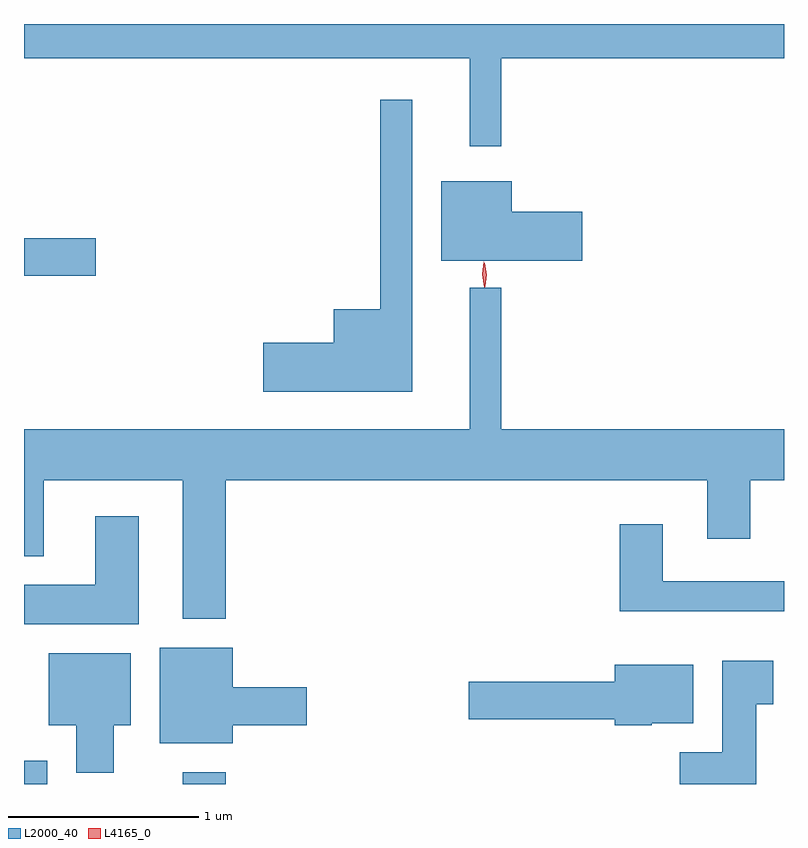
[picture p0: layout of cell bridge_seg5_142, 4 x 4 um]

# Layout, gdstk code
import gdstk
lib = gdstk.Library(unit=1e-6, precision=1e-09)
def R(c, l, rs):  # rectangles x0, y0, x1, y1
    for r in rs: c.add(gdstk.rectangle(r[:2], r[2:], *l))
def P(c, l, *ps):  # polygons
    for p in ps: c.add(gdstk.Polygon(p, *l))
L2000_40 = (2000, 40)
L4165_0 = (4165, 0)

bridge_seg5_142 = lib.new_cell('bridge_seg5_142')
R(bridge_seg5_142, L2000_40, [(1127.936,1406.356,1128.059,1406.479), (1128.771,1406.356,1128.999,1406.419), (1127.936,1409.031,1128.314,1409.229)])
P(bridge_seg5_142, L2000_40, [(1130.449,1410.176),(1131.936,1410.176),(1131.936,1410.356),(1127.936,1410.356),(1127.936,1410.176),(1130.281,1410.176),(1130.281,1409.713),(1130.449,1409.713)],
  [(1129.979,1409.958),(1129.811,1409.958),(1129.811,1408.854),(1129.566,1408.854),(1129.566,1408.679),(1129.196,1408.679),(1129.196,1408.421),(1129.979,1408.421)],
  [(1130.874,1409.369),(1130.504,1409.369),(1130.504,1409.529),(1130.131,1409.529),(1130.131,1409.111),(1130.874,1409.111)],
  [(1128.999,1407.956),(1131.531,1407.956),(1131.531,1407.646),(1131.759,1407.646),(1131.759,1407.956),(1131.936,1407.956),(1131.936,1408.224),(1130.449,1408.224),(1130.449,1408.968),(1130.281,1408.968),(1130.281,1408.224),(1127.936,1408.224),(1127.936,1407.556),(1128.039,1407.556),(1128.039,1407.956),(1128.771,1407.956),(1128.771,1407.226),(1128.999,1407.226)],
  [(1128.539,1407.764),(1128.311,1407.764),(1128.311,1407.404),(1127.936,1407.404),(1127.936,1407.196),(1128.539,1407.196)],
  [(1131.936,1407.424),(1131.299,1407.424),(1131.299,1407.724),(1131.071,1407.724),(1131.071,1407.266),(1131.936,1407.266)],
  [(1129.034,1406.666),(1129.424,1406.666),(1129.424,1406.864),(1129.034,1406.864),(1129.034,1407.074),(1128.651,1407.074),(1128.651,1406.571),(1129.034,1406.571)],
  [(1128.409,1406.666),(1128.499,1406.666),(1128.499,1407.044),(1128.066,1407.044),(1128.066,1406.666),(1128.211,1406.666),(1128.211,1406.416),(1128.409,1406.416)],
  [(1131.789,1406.776),(1131.879,1406.776),(1131.879,1407.004),(1131.611,1407.004),(1131.611,1406.524),(1131.386,1406.524),(1131.386,1406.356),(1131.789,1406.356)],
  [(1131.24,1406.676),(1131.459,1406.676),(1131.459,1406.984),(1131.046,1406.984),(1131.046,1406.894),(1130.276,1406.894),(1130.276,1406.696),(1131.046,1406.696),(1131.046,1406.666),(1131.24,1406.666)])
P(bridge_seg5_142, L4165_0, [(1130.359,1408.97),(1130.348,1409.038),(1130.356,1409.105),(1130.357,1409.105),(1130.357,1409.105),(1130.368,1409.038),(1130.36,1408.97),(1130.36,1408.97)],
  [(1130.362,1408.974),(1130.352,1409.036),(1130.361,1409.099),(1130.362,1409.099),(1130.362,1409.099),(1130.372,1409.036),(1130.363,1408.974),(1130.363,1408.974)])

lib.write_gds('bridge_seg5_142.gds')
